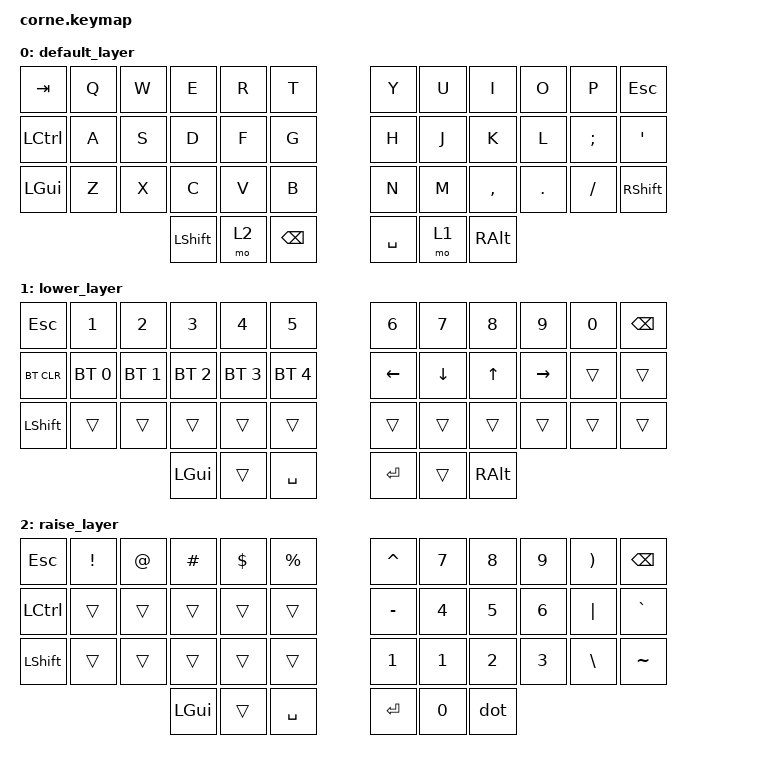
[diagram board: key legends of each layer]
/*
 * Copyright (c) 2020 The ZMK Contributors
 *
 * SPDX-License-Identifier: MIT
 */

#include <behaviors.dtsi>
#include <dt-bindings/zmk/keys.h>
#include <dt-bindings/zmk/bt.h>

/ {
        keymap {
                compatible = "zmk,keymap";

                default_layer {
                        bindings = <
   &kp TAB   &kp Q &kp W &kp E &kp R &kp T   &kp Y &kp U  &kp I     &kp O   &kp P    &kp ESC
   &kp LCTRL &kp A &kp S &kp D &kp F &kp G   &kp H &kp J  &kp K     &kp L   &kp SEMI &kp SQT
   &kp LGUI &kp Z &kp X &kp C &kp V &kp B   &kp N &kp M  &kp COMMA &kp DOT &kp FSLH &kp RSHFT
                  &kp LSHFT &mo 2 &kp BSPC   &kp SPC &mo 1 &kp RALT
                        >;
                };
                lower_layer {
                        bindings = <
   &kp ESC    &kp N1       &kp N2       &kp N3       &kp N4       &kp N5            &kp N6   &kp N7   &kp N8 &kp N9    &kp N0 &kp BSPC
   &bt BT_CLR &bt BT_SEL 0 &bt BT_SEL 1 &bt BT_SEL 2 &bt BT_SEL 3 &bt BT_SEL 4      &kp LEFT &kp DOWN &kp UP &kp RIGHT &trans &trans
   &kp LSHFT  &trans       &trans       &trans       &trans       &trans            &trans   &trans   &trans &trans    &trans &trans
                                        &kp LGUI     &trans       &kp SPACE         &kp RET &trans &kp RALT
                        >;
                };

                raise_layer {
                        bindings = <
   &kp  ESC  &kp EXCL  &kp AT  &kp HASH  &kp DLLR  &kp PRCNT   &kp CARET &kp N7  &kp N8  &kp N9 &kp RPAR &kp BSPC
   &kp LCTRL &trans    &trans  &trans    &trans    &trans      &kp MINUS &kp N4  &kp N5  &kp N6 &kp PIPE &kp GRAVE
   &kp LSHFT &trans    &trans  &trans    &trans    &trans      &kp N1    &kp N1  &kp N2  &kp N3   &kp BSLH &kp TILDE
                                   &kp LGUI &trans &kp SPACE   &kp RET &kp N0 &kp dot
                        >;
                };
        };
};
